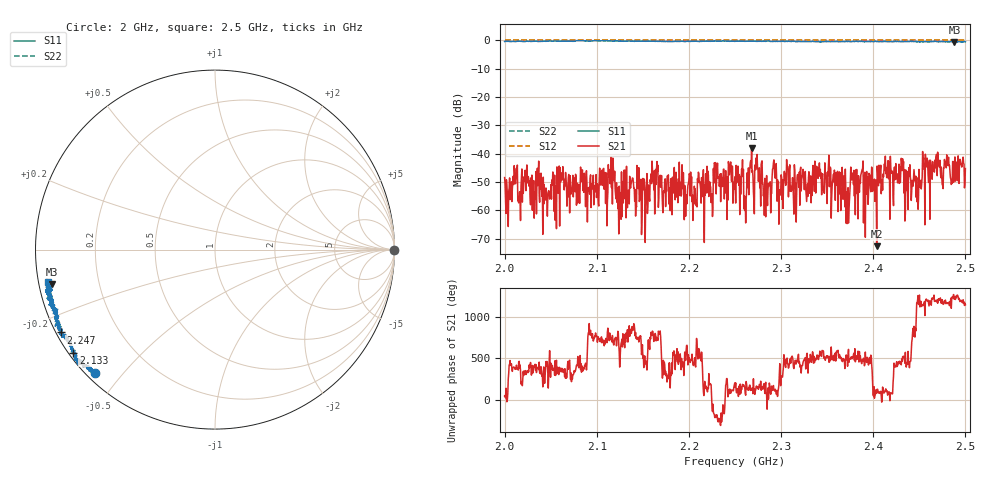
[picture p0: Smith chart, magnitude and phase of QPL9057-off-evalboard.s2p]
!	created	by	azisi	at	Mon	Jul	20	18:51:41	EEST	2020
!	generated	using	vna/J	Version	3.4.3
#	Hz	S	DB	R	50
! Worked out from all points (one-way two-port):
!   1014 points, 2 GHz to 2.5 GHz, reference 50 ohm
!   highest |S21| = -37.97 dB at 2.268 GHz (marker M1); lowest = -72.7 dB at 2.404 GHz (marker M2)
!   lowest |S11| = -0.7 dB at 2.488 GHz (marker M3), VSWR 26.33, Z = 1.92 - j5.21 ohm
!   |S11| at or under -10 dB: nowhere
!   |S22| runs from 0.0 to 0.0 dB; largest |S21 - S12| = 1
!   S11 on the Smith chart (normalised r, x): 2 GHz: 0.02, -0.42; 2.133 GHz: 0.01, -0.33; 2.247 GHz: 0.01, -0.25; 2.5 GHz: 0.03, -0.10
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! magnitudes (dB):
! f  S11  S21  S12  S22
! 2 GHz  -0.4  -48.5  0.0  0.0
! 2.083 GHz  -0.1  -49.9  0.0  0.0
! 2.133 GHz  -0.2  -59.1  0.0  0.0
! 2.167 GHz  -0.3  -59.0  0.0  0.0
! 2.206 GHz  -0.3  -52.9  0.0  0.0
! 2.247 GHz  -0.2  -44.5  0.0  0.0
! 2.25 GHz  -0.3  -48.1  0.0  0.0
! 2.262 GHz  -0.3  -56.0  0.0  0.0
! 2.268 GHz  -0.2  -38.0  0.0  0.0
! 2.283 GHz  -0.3  -62.3  0.0  0.0
! 2.293 GHz  -0.3  -44.5  0.0  0.0
! 2.3 GHz  -0.3  -47.5  0.0  0.0
! 2.334 GHz  -0.3  -54.8  0.0  0.0
! 2.368 GHz  -0.4  -49.5  0.0  0.0
! 2.372 GHz  -0.4  -64.7  0.0  0.0
! 2.378 GHz  -0.3  -46.9  0.0  0.0
! 2.404 GHz  -0.4  -72.7  0.0  0.0
! 2.417 GHz  -0.4  -42.9  0.0  0.0
! 2.449 GHz  -0.4  -55.6  0.0  0.0
! 2.456 GHz  -0.5  -65.2  0.0  0.0
! 2.488 GHz  -0.7  -43.4  0.0  0.0
! 2.5 GHz  -0.5  -45.3  0.0  0.0
